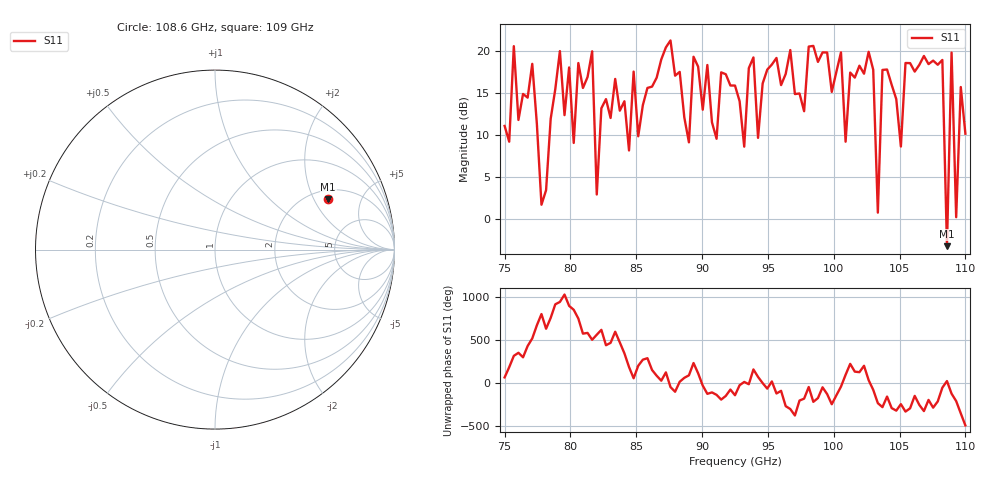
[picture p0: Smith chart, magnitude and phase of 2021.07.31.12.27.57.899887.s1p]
!Created with skrf (http://scikit-rf.org).
# GHz S RI R 50.0
!freq ReS11 ImS11
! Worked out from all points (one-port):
!   101 points, 75 GHz to 110 GHz, reference 50 ohm
!   lowest |S11| = -3.2 dB at 108.6 GHz (marker M1), VSWR 5.45, Z = 122 + j130 ohm
!   |S11| at or under -10 dB: nowhere
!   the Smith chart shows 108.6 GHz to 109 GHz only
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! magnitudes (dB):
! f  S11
! 75 GHz  11.1
! 77.1 GHz  18.5
! 77.8 GHz  1.7
! 79.2 GHz  20.0
! 79.55 GHz  12.4
! 81.65 GHz  20.0
! 82 GHz  2.9
! 82.35 GHz  13.2
! 83.75 GHz  12.9
! 88.3 GHz  17.5
! 89 GHz  9.1
! 89.35 GHz  19.3
! 92.5 GHz  15.9
! 97.05 GHz  14.9
! 100.5 GHz  19.8
! 100.9 GHz  9.2
! 101.2 GHz  17.4
! 103 GHz  17.8
! 103.3 GHz  0.8
! 103.7 GHz  17.7
! 105.1 GHz  8.6
! 105.8 GHz  18.5
! 108.2 GHz  18.9
! 108.6 GHz  -3.2
! 109 GHz  19.8
! 109.3 GHz  0.2
! 109.7 GHz  15.7
! 110 GHz  10.2
